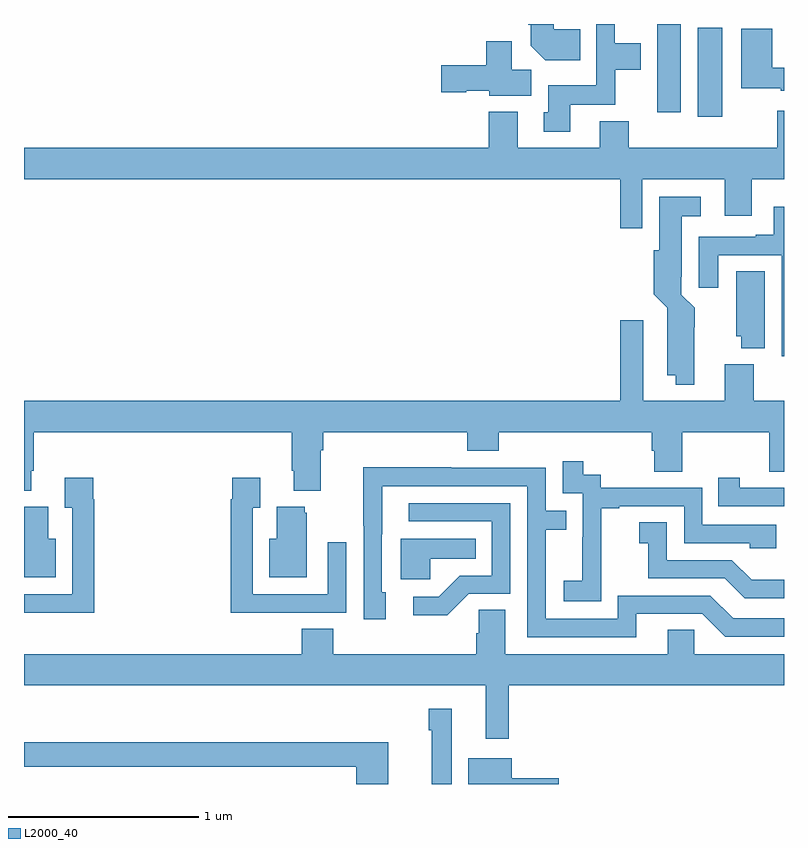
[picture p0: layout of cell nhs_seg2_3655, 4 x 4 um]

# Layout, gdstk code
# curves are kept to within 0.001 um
import gdstk
lib = gdstk.Library(unit=1e-6, precision=1e-09)
def R(c, l, rs):  # rectangles x0, y0, x1, y1
    for r in rs: c.add(gdstk.rectangle(r[:2], r[2:], *l))
def P(c, l, *ps):  # polygons
    for p in ps: c.add(gdstk.Polygon(p, *l))
L2000_40 = (2000, 40)

nhs_seg2_3655 = lib.new_cell('nhs_seg2_3655')
R(nhs_seg2_3655, L2000_40, [(306.545,633.312,306.676,633.781), (306.332,633.336,306.457,633.8)])
P(nhs_seg2_3655, L2000_40, [(305.875,633.374),(306.111,633.374),(306.111,633.56),(306.247,633.56),(306.247,633.7),(306.108,633.7),(306.108,633.8),(306.012,633.8),(306.012,633.478),(305.759,633.478),(305.759,633.336),(305.735,633.336),(305.735,633.234),(305.875,633.234)],
  [(305.927,633.772),(305.788,633.772),(305.788,633.8),(305.654,633.8),(305.654,633.796),(305.666,633.796),(305.666,633.686),(305.744,633.608),(305.927,633.608)],
  [(307,633.571),(306.938,633.571),(306.938,633.775),(306.776,633.775),(306.776,633.461),(306.984,633.461),(306.984,633.449),(307,633.449)],
  [(305.671,633.56),(305.566,633.56),(305.566,633.709),(305.432,633.709),(305.432,633.584),(305.196,633.584),(305.196,633.442),(305.328,633.442),(305.328,633.449),(305.448,633.449),(305.448,633.422),(305.671,633.422)],
  [(307,633.343),(306.965,633.343),(306.965,633.148),(306.182,633.148),(306.182,633.289),(306.029,633.289),(306.029,633.148),(305.599,633.148),(305.599,633.337),(305.447,633.337),(305.447,633.148),(303,633.148),(303,632.984),(306.139,632.984),(306.139,632.724),(306.255,632.724),(306.255,632.984),(306.689,632.984),(306.689,632.79),(306.829,632.79),(306.829,632.984),(307,632.984)],
  [(306.528,632.204),(306.529,632.306),(306.459,632.376),(306.459,632.47),(306.463,632.47),(306.463,632.789),(306.562,632.789),(306.562,632.89),(306.344,632.89),(306.344,632.61),(306.314,632.61),(306.314,632.378),(306.386,632.306),(306.386,631.952),(306.431,631.952),(306.431,631.901),(306.528,631.901)],
  [(307,632.839),(306.947,632.839),(306.947,632.692),(306.851,632.692),(306.851,632.679),(306.551,632.679),(306.551,632.412),(306.655,632.412),(306.655,632.583),(306.989,632.583),(306.989,632.052),(307,632.052)],
  [(306.898,632.498),(306.749,632.498),(306.749,632.157),(306.776,632.157),(306.776,632.093),(306.898,632.093)],
  [(303.037,631.45),(303.05,631.45),(303.05,631.652),(304.409,631.652),(304.409,631.45),(304.421,631.45),(304.421,631.343),(304.561,631.343),(304.561,631.556),(304.574,631.556),(304.574,631.652),(305.333,631.652),(305.333,631.553),(305.498,631.553),(305.498,631.652),(306.305,631.652),(306.305,631.554),(306.317,631.554),(306.317,631.444),(306.465,631.444),(306.465,631.652),(306.922,631.652),(306.922,631.444),(307,631.444),(307,631.816),(306.842,631.816),(306.842,632.008),(306.689,632.008),(306.689,631.816),(306.259,631.816),(306.259,632.242),(306.137,632.242),(306.137,631.816),(303,631.816),(303,631.343),(303.037,631.343)],
  [(306.039,630.967),(306.038,630.967),(306.038,631.251),(306.133,631.251),(306.133,631.263),(306.474,631.263),(306.474,631.068),(306.819,631.068),(306.819,631.041),(306.959,631.041),(306.959,631.164),(306.57,631.164),(306.57,631.359),(306.036,631.359),(306.036,631.428),(305.944,631.428),(305.944,631.498),(305.835,631.498),(305.835,631.329),(305.94,631.329),(305.94,631.1),(305.939,631.1),(305.939,630.871),(305.841,630.871),(305.841,630.761),(306.039,630.761)],
  [(306.223,630.696),(306.57,630.696),(306.69,630.576),(307,630.576),(307,630.672),(306.732,630.672),(306.612,630.792),(306.126,630.792),(306.126,630.669),(305.745,630.669),(305.745,631.138),(305.855,631.138),(305.855,631.239),(305.745,631.239),(305.745,631.464),(305.249,631.464),(305.249,631.466),(304.786,631.466),(304.786,631.159),(304.788,631.159),(304.788,630.666),(304.903,630.666),(304.903,630.81),(304.884,630.81),(304.885,631.368),(305.649,631.368),(305.649,630.573),(306.223,630.573)],
  [(304.379,630.702),(304.695,630.702),(304.695,631.072),(304.599,631.072),(304.599,630.798),(304.203,630.798),(304.203,631.255),(304.243,631.255),(304.243,631.411),(304.095,631.411),(304.095,631.298),(304.087,631.298),(304.087,630.701),(304.379,630.701)],
  [(303.371,631.298),(303.364,631.298),(303.364,631.411),(303.215,631.411),(303.215,631.255),(303.255,631.255),(303.255,630.798),(303,630.798),(303,630.702),(303.079,630.702),(303.079,630.701),(303.371,630.701)],
  [(307,631.359),(306.766,631.359),(306.766,631.411),(306.655,631.411),(306.655,631.263),(307,631.263)],
  [(305.34,630.801),(305.559,630.801),(305.559,631.278),(305.025,631.278),(305.025,631.182),(305.463,631.182),(305.463,630.897),(305.294,630.897),(305.183,630.786),(305.049,630.786),(305.049,630.689),(305.227,630.689)],
  [(304.489,631.227),(304.478,631.227),(304.478,631.258),(304.331,631.258),(304.331,631.09),(304.292,631.09),(304.292,630.887),(304.489,630.887)],
  [(303.166,631.09),(303.127,631.09),(303.127,631.258),(303,631.258),(303,630.887),(303.166,630.887)],
  [(307,630.874),(306.83,630.874),(306.726,630.978),(306.384,630.978),(306.384,631.177),(306.237,631.177),(306.237,631.067),(306.286,631.067),(306.286,630.882),(306.689,630.882),(306.794,630.777),(307,630.777)],
  [(305.139,630.986),(305.378,630.986),(305.378,631.09),(304.982,631.09),(304.982,630.878),(305.139,630.878)],
  [(305.551,630.32),(307,630.32),(307,630.484),(306.528,630.484),(306.528,630.611),(306.389,630.611),(306.389,630.484),(305.533,630.484),(305.533,630.716),(305.394,630.716),(305.394,630.593),(305.381,630.593),(305.381,630.484),(304.628,630.484),(304.628,630.617),(304.463,630.617),(304.463,630.484),(303,630.484),(303,630.32),(305.429,630.32),(305.429,630.039),(305.551,630.039)],
  [(305.251,630.196),(305.13,630.196),(305.13,630.083),(305.147,630.083),(305.147,629.8),(305.251,629.8)],
  [(304.918,630.019),(303,630.019),(303,629.89),(304.748,629.89),(304.748,629.8),(304.918,629.8)],
  [(305.815,629.829),(305.566,629.829),(305.566,629.935),(305.339,629.935),(305.339,629.8),(305.815,629.8)])

lib.write_gds('nhs_seg2_3655.gds')
